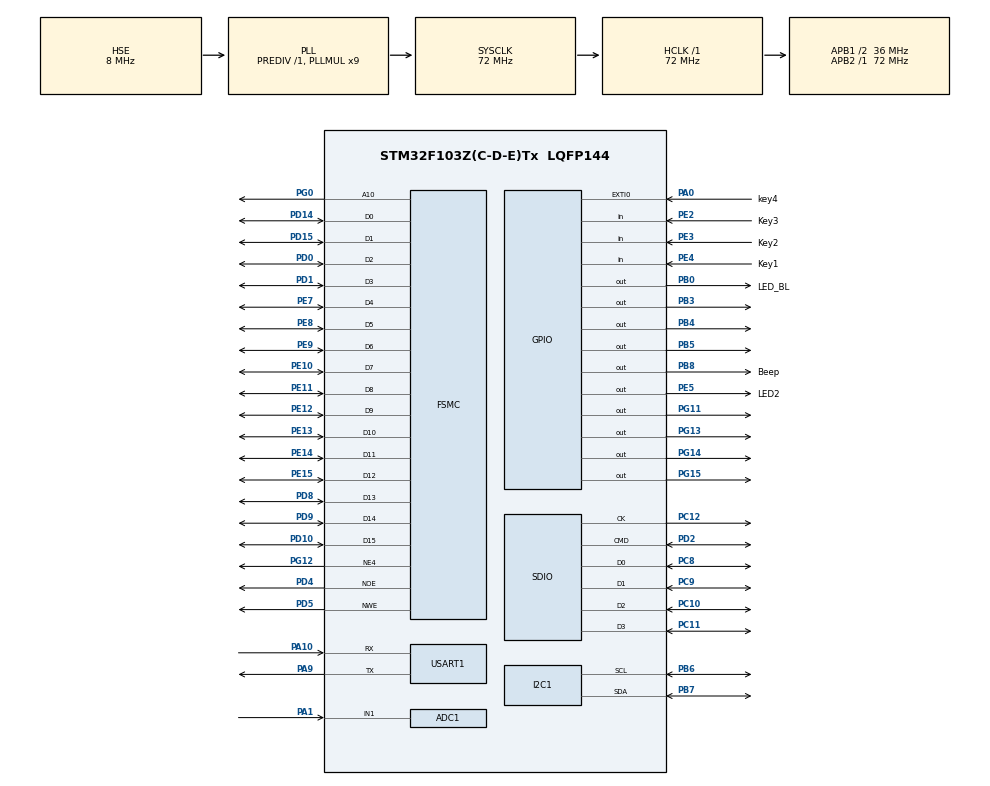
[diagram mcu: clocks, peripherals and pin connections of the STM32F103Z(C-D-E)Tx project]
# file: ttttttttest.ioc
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ADC1.Channel-0\#ChannelRegularConversion=ADC_CHANNEL_1
ADC1.ContinuousConvMode=DISABLE
ADC1.ExternalTrigConv=ADC_SOFTWARE_START
ADC1.NbrOfConversionFlag=1
ADC1.Rank-0\#ChannelRegularConversion=1
ADC1.SamplingTime-0\#ChannelRegularConversion=ADC_SAMPLETIME_1CYCLE_5
ADC1.master=1
FATFS._CODE_PAGE=936
FATFS._USE_LFN=3
Mcu.Family=STM32F1
Mcu.Name=STM32F103Z(C-D-E)Tx
Mcu.Package=LQFP144
NVIC.EXTI0_IRQn=true\:1\:0\:true\:false\:true\:true\:true
NVIC.PriorityGroup=NVIC_PRIORITYGROUP_4
NVIC.RTC_Alarm_IRQn=true\:0\:0\:false\:false\:true\:true\:true
NVIC.SDIO_IRQn=true\:0\:0\:true\:false\:true\:true\:true
NVIC.TIM3_IRQn=true\:1\:0\:true\:false\:true\:true\:true
NVIC.TIM4_IRQn=true\:2\:0\:true\:false\:true\:true\:true
NVIC.USART1_IRQn=true\:1\:0\:true\:false\:true\:true\:true
OSC_IN.Mode=HSE-External-Oscillator
OSC_IN.Signal=RCC_OSC_IN
OSC_OUT.Mode=HSE-External-Oscillator
OSC_OUT.Signal=RCC_OSC_OUT
PA0-WKUP.GPIO_Label=key4
PA0-WKUP.GPIO_PuPd=GPIO_PULLDOWN
PA0-WKUP.Signal=GPXTI0
PA1.Signal=ADCx_IN1
PA10.Mode=Asynchronous
PA10.Signal=USART1_RX
PA13.Mode=Serial_Wire
PA13.Signal=SYS_JTMS-SWDIO
PA14.Mode=Serial_Wire
PA14.Signal=SYS_JTCK-SWCLK
PA9.Mode=Asynchronous
PA9.Signal=USART1_TX
PB0.GPIO_Label=LED_BL
PB0.GPIO_PuPd=GPIO_PULLUP
PB0.GPIO_Speed=GPIO_SPEED_FREQ_HIGH
PB0.Signal=GPIO_Output
PB3.Signal=GPIO_Output
PB4.Signal=GPIO_Output
PB5.Signal=GPIO_Output
PB6.Mode=I2C
PB6.Signal=I2C1_SCL
PB7.Mode=I2C
PB7.Signal=I2C1_SDA
PB8.GPIO_Label=Beep
PB8.GPIO_ModeDefaultOutputPP=GPIO_MODE_OUTPUT_PP
PB8.Signal=GPIO_Output
PC10.Mode=SD_4_bits_Wide_bus
PC10.Signal=SDIO_D2
PC11.Mode=SD_4_bits_Wide_bus
PC11.Signal=SDIO_D3
PC12.Mode=SD_4_bits_Wide_bus
PC12.Signal=SDIO_CK
PC14-OSC32_IN.Mode=LSE-External-Oscillator
PC14-OSC32_IN.Signal=RCC_OSC32_IN
PC15-OSC32_OUT.Mode=LSE-External-Oscillator
PC15-OSC32_OUT.Signal=RCC_OSC32_OUT
PC8.Mode=SD_4_bits_Wide_bus
PC8.Signal=SDIO_D0
PC9.Mode=SD_4_bits_Wide_bus
PC9.Signal=SDIO_D1
PD0.Signal=FSMC_D2_DA2
PD1.Signal=FSMC_D3_DA3
PD10.Signal=FSMC_D15_DA15
PD14.Signal=FSMC_D0_DA0
PD15.Signal=FSMC_D1_DA1
PD2.Mode=SD_4_bits_Wide_bus
PD2.Signal=SDIO_CMD
PD4.Signal=FSMC_NOE
PD5.Signal=FSMC_NWE
PD8.Signal=FSMC_D13_DA13
PD9.Signal=FSMC_D14_DA14
PE10.Signal=FSMC_D7_DA7
PE11.Signal=FSMC_D8_DA8
PE12.Signal=FSMC_D9_DA9
PE13.Signal=FSMC_D10_DA10
PE14.Signal=FSMC_D11_DA11
PE15.Signal=FSMC_D12_DA12
PE2.GPIO_Label=Key3
PE2.GPIO_PuPd=GPIO_PULLUP
PE2.Signal=GPIO_Input
PE3.GPIO_Label=Key2
PE3.GPIO_PuPd=GPIO_PULLUP
PE3.Signal=GPIO_Input
PE4.GPIO_Label=Key1
PE4.GPIO_PuPd=GPIO_PULLUP
PE4.Signal=GPIO_Input
PE5.GPIO_Label=LED2
PE5.GPIO_ModeDefaultOutputPP=GPIO_MODE_OUTPUT_PP
PE5.GPIO_PuPd=GPIO_NOPULL
PE5.GPIO_Speed=GPIO_SPEED_FREQ_LOW
PE5.PinState=GPIO_PIN_RESET
PE5.Signal=GPIO_Output
PE7.Signal=FSMC_D4_DA4
PE8.Signal=FSMC_D5_DA5
PE9.Signal=FSMC_D6_DA6
PG0.Signal=FSMC_A10
PG11.GPIO_PuPd=GPIO_PULLUP
PG11.GPIO_Speed=GPIO_SPEED_FREQ_HIGH
PG11.Signal=GPIO_Output
PG12.Mode=NorPsramChipSelect4_1
PG12.Signal=FSMC_NE4
PG13.Signal=GPIO_Output
PG14.Signal=GPIO_Output
PG15.Signal=GPIO_Output
ProjectManager.HeapSize=0x1000
ProjectManager.StackSize=0x400
ProjectManager.TargetToolchain=MDK-ARM V5.27
RCC.ADCPresc=RCC_ADCPCLK2_DIV6
RCC.AHBFreq_Value=72000000
RCC.APB1CLKDivider=RCC_HCLK_DIV2
RCC.APB1Freq_Value=36000000
RCC.APB1TimFreq_Value=72000000
RCC.APB2Freq_Value=72000000
RCC.APB2TimFreq_Value=72000000
RCC.HCLKFreq_Value=72000000
RCC.PLLMUL=RCC_PLL_MUL9
RCC.PLLSourceVirtual=RCC_PLLSOURCE_HSE
RCC.RTCClockSelection=RCC_RTCCLKSOURCE_LSE
RCC.SYSCLKFreq_VALUE=72000000
RCC.SYSCLKSource=RCC_SYSCLKSOURCE_PLLCLK
RCC.USBFreq_Value=72000000
RTC.Date=16
RTC.Format=RTC_FORMAT_BCD
RTC.Hours=12
RTC.Minutes=58
RTC.Month=RTC_MONTH_MAY
RTC.WeekDay=RTC_WEEKDAY_SUNDAY
RTC.Year=21
SDIO.ClockDiv=4
SDIO.HardwareFlowControl=SDIO_HARDWARE_FLOW_CONTROL_ENABLE
SH.ADCx_IN1.0=ADC1_IN1,IN1
SH.FSMC_A10.0=FSMC_A10,A10_1
SH.FSMC_D0_DA0.0=FSMC_D0,16b-d1
SH.FSMC_D10_DA10.0=FSMC_D10,16b-d1
SH.FSMC_D11_DA11.0=FSMC_D11,16b-d1
SH.FSMC_D12_DA12.0=FSMC_D12,16b-d1
SH.FSMC_D13_DA13.0=FSMC_D13,16b-d1
SH.FSMC_D14_DA14.0=FSMC_D14,16b-d1
SH.FSMC_D15_DA15.0=FSMC_D15,16b-d1
SH.FSMC_D1_DA1.0=FSMC_D1,16b-d1
SH.FSMC_D2_DA2.0=FSMC_D2,16b-d1
SH.FSMC_D3_DA3.0=FSMC_D3,16b-d1
SH.FSMC_D4_DA4.0=FSMC_D4,16b-d1
SH.FSMC_D5_DA5.0=FSMC_D5,16b-d1
SH.FSMC_D6_DA6.0=FSMC_D6,16b-d1
SH.FSMC_D7_DA7.0=FSMC_D7,16b-d1
SH.FSMC_D8_DA8.0=FSMC_D8,16b-d1
SH.FSMC_D9_DA9.0=FSMC_D9,16b-d1
SH.FSMC_NOE.0=FSMC_NOE,Lcd1
SH.FSMC_NWE.0=FSMC_NWE,Lcd1
TIM3.Period=30000
TIM3.Prescaler=7200-1
TIM4.Period=10000-1
TIM4.Prescaler=7200-1
TIM7.Period=65535
TIM7.Prescaler=72-1
USART1.VirtualMode=VM_ASYNC
VP_CRC_VS_CRC.Mode=CRC_Activate
VP_FATFS_VS_SDIO.Mode=SDIO
VP_RTC_No_RTC_Output.Mode=RTC_OUT_NO
VP_RTC_VS_RTC_Activate.Mode=RTC_Enabled
VP_RTC_VS_RTC_Calendar.Mode=RTC_Calendar
VP_TIM3_VS_ClockSourceINT.Mode=Internal
VP_TIM4_VS_ClockSourceINT.Mode=Internal
VP_TIM7_VS_ClockSourceINT.Mode=Enable_Timer
board=custom

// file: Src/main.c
/* USER CODE BEGIN Header */
/**
  ******************************************************************************
  * @file           : main.c
  * @brief          : Main program body
  ******************************************************************************
  * @attention
  *
  * <h2><center>&copy; Copyright (c) 2021 STMicroelectronics.
  * All rights reserved.</center></h2>
  *
  * This software component is licensed by ST under Ultimate Liberty license
  * SLA0044, the "License"; You may not use this file except in compliance with
  * the License. You may obtain a copy of the License at:
  *                             www.st.com/SLA0044
  *
  ******************************************************************************
  */
/* USER CODE END Header */

#include "main.h"
#include "adc.h"
#include "crc.h"
#include "fatfs.h"
#include "i2c.h"
#include "rtc.h"
#include "sdio.h"
#include "tim.h"
#include "usart.h"
#include "gpio.h"
#include "fsmc.h"
#include "iic.h"

/* USER CODE BEGIN Includes */
#include "lcd.h"
#include "key.h"
#include "dht11.h"
#include "stdio.h"
#include "rtc.h"
#include "BH1750.h"
#include "i2c.h"
#include "math.h"
/* USER CODE END Includes */

/* USER CODE BEGIN PTD */

  uint8_t s1 = 1;			//主页面功能号
  uint8_t s2 = 0;			//主次页面判断标志位
  uint8_t s3 = 1;		//次页面功能号
  uint8_t s4 = 1;
  uint8_t s5 = 0;
  uint8_t flag;
  uint8_t flag_storage = 0;
  uint8_t flag_tem = 1;
  uint8_t flag_hum = 2;
  uint8_t flag_con = 3;
  uint8_t flag_light = 4;
	uint16_t temperature;
	uint16_t humidity;
  uint16_t temp2;
  uint16_t AD_Value;
  uint32_t byteswritten;
  uint8_t lx_Integer;
  uint8_t lx_Decimal;
  uint8_t ppm_Integer;
  uint8_t ppm_Decimal;
  uint16_t flag_conup = 1000;
  uint8_t flag_conlow = 0;
  uint16_t flag_lightup = 5000;
  uint8_t flag_lightlow = 0;
  uint8_t flag_humup = 95;
  uint8_t flag_humlow = 5;

  float ppm;
  float lx;
  float test_tem;
  float flag_temup = 34.0;
  float flag_temlow = 10.0;
	float Vol_Value;

  char SensorBuff[100];
  char tem_show[50];
  char hum_show[50];
  char ppm_show[50];
  char lux_show[50];
  char date_show[50];
  char time_show[50];
  RTC_DateTypeDef GetDate;
  RTC_TimeTypeDef GetTime;
  RTC_AlarmTypeDef sAlarm;

  extern uint8_t r_s;
/* USER CODE END PTD */

void SystemClock_Config(void);
/* USER CODE BEGIN PFP */
void SD_Open(void);
void Function_Primary(void);
void Key_function(void);
void Date_Show(void);
void SD_Show(void);
void function(void);
void key_scan_up(void);
void key_scan_down(void);
void test(void);
void Real_Time_Storage(void);
void Threshold_setting(void);
void Threshold_Temperature(void);
void Threshold_Humidity(void);
void Device_init(void);
void Alarm_Display(void);
void Threshold_Concentration(void);
void Collection_Path(void);
void Set_Tem_Path(void);
void Set_Hum_Path(void);
void Set_Con_Path(void);
void Set_Light_Path(void);
void Collection_Path_Page(void);
void Threshold_Lgiht(void);
void CD4051(uint8_t n);
void Polling_CD4051(void);

/* USER CODE END PFP */

int main(void)
{

  /* MCU Configuration--------------------------------------------------------*/

  /* Reset of all peripherals, Initializes the Flash interface and the Systick. */
  HAL_Init();

  /* Configure the system clock */
  SystemClock_Config();

  /* Initialize all configured peripherals */
  MX_GPIO_Init();
  MX_SDIO_SD_Init();
  MX_USART1_UART_Init();
  MX_FATFS_Init();
  MX_CRC_Init();
  MX_FSMC_Init();
  MX_TIM3_Init();
  MX_TIM7_Init();
  MX_RTC_Init();
  MX_ADC1_Init();
  MX_I2C1_Init();
  MX_TIM4_Init();
  /* USER CODE BEGIN 2 */
  LCD_Init();
  HAL_GPIO_WritePin(GPIOB,GPIO_PIN_3,0);//inh

  HAL_GPIO_WritePin(GPIOB,GPIO_PIN_5,0);
  HAL_TIM_Base_Start_IT(&htim3);
  HAL_TIM_Base_Start_IT(&htim4);
  rtc_init_user();
  IIC_Init();
  SD_Open();
  DHT11_Read_Data(&temperature,&humidity);
  // CD4051(0);
  // HAL_ADC_Start_DMA(&hadc1, Ad_temp, 100);
  /* USER CODE END 2 */

  /* Infinite loop */
  while (1)
  {
    // Polling_CD4051();
    Device_init();
    function();
    key_scan_down();
    key_scan_up();
    test();
    printf("%d",flag);
    printf("Temperature = %d.%d degree\r\n",temperature>>8,temperature&0xff);

  }
}

void SystemClock_Config(void)
{
  RCC_OscInitTypeDef RCC_OscInitStruct = {0};
  RCC_ClkInitTypeDef RCC_ClkInitStruct = {0};
  RCC_PeriphCLKInitTypeDef PeriphClkInit = {0};

  /** Initializes the CPU, AHB and APB busses clocks
  */
  RCC_OscInitStruct.OscillatorType = RCC_OSCILLATORTYPE_HSE|RCC_OSCILLATORTYPE_LSE;
  RCC_OscInitStruct.HSEState = RCC_HSE_ON;
  RCC_OscInitStruct.HSEPredivValue = RCC_HSE_PREDIV_DIV1;
  RCC_OscInitStruct.LSEState = RCC_LSE_ON;
  RCC_OscInitStruct.HSIState = RCC_HSI_ON;
  RCC_OscInitStruct.PLL.PLLState = RCC_PLL_ON;
  RCC_OscInitStruct.PLL.PLLSource = RCC_PLLSOURCE_HSE;
  RCC_OscInitStruct.PLL.PLLMUL = RCC_PLL_MUL9;
  if (HAL_RCC_OscConfig(&RCC_OscInitStruct) != HAL_OK)
  {
    Error_Handler();
  }
  /** Initializes the CPU, AHB and APB busses clocks
  */
  RCC_ClkInitStruct.ClockType = RCC_CLOCKTYPE_HCLK|RCC_CLOCKTYPE_SYSCLK
                              |RCC_CLOCKTYPE_PCLK1|RCC_CLOCKTYPE_PCLK2;
  RCC_ClkInitStruct.SYSCLKSource = RCC_SYSCLKSOURCE_PLLCLK;
  RCC_ClkInitStruct.AHBCLKDivider = RCC_SYSCLK_DIV1;
  RCC_ClkInitStruct.APB1CLKDivider = RCC_HCLK_DIV2;
  RCC_ClkInitStruct.APB2CLKDivider = RCC_HCLK_DIV1;

  if (HAL_RCC_ClockConfig(&RCC_ClkInitStruct, FLASH_LATENCY_2) != HAL_OK)
  {
    Error_Handler();
  }
  PeriphClkInit.PeriphClockSelection = RCC_PERIPHCLK_RTC|RCC_PERIPHCLK_ADC;
  PeriphClkInit.RTCClockSelection = RCC_RTCCLKSOURCE_LSE;
  PeriphClkInit.AdcClockSelection = RCC_ADCPCLK2_DIV6;
  if (HAL_RCCEx_PeriphCLKConfig(&PeriphClkInit) != HAL_OK)
  {
    Error_Handler();
  }
}

/* USER CODE BEGIN 4 */

void HAL_GPIO_EXTI_Callback(uint16_t GPIO_Pin)
{

}

void HAL_TIM_PeriodElapsedCallback(TIM_HandleTypeDef *htim)
{
  if(htim == &htim3)
  {
    RTC_Get();
       /* 打开文件 */
    f_open(&SDFile,"0:/Date.CSV",FA_OPEN_EXISTING | FA_WRITE);

    /* 查找文件的结尾 */
    f_lseek(&SDFile,f_size(&SDFile));
    /* 写入数据 */
    sprintf(SensorBuff, "%d.%d,%d.%d,%d.%d,%d.%d,%02d/%02d/%02d,%02d:%02d:%02d\r\n",temperature>>8,temperature&0xff,
    humidity>>8,humidity&0xff,ppm_Integer,ppm_Decimal,lx_Integer,lx_Decimal,calendar.w_year, calendar.w_month, calendar.w_date,calendar.hour,
    calendar.min, calendar.sec);
    f_write(&SDFile,SensorBuff,strlen(SensorBuff),&byteswritten);
    printf("\r\nsuccess\r\n");

    /* 关闭文件 */
    f_close(&SDFile);
  }

  if(htim == &htim4)
  {

    RTC_Get();
    flag = DHT11_Read_Data(&temperature,&humidity);

  }
}

//监控数据
void Date_Show(void)
{
  sprintf((char*)tem_show,"Temperature = %d.%d degree",temperature>>8,temperature&0xff);
  sprintf((char*)hum_show,"Humidity = %d.%d%%",humidity>>8,humidity&0xff);
  sprintf((char*)ppm_show,"Concentration = %d.%d ppm",ppm_Integer,ppm_Decimal);
  sprintf((char*)lux_show,"Light intensity = %d.%d lx",lx_Integer,lx_Decimal);
  POINT_COLOR = BLUE;
  LCD_ShowString(50,20,240,200,16,"Monitoring Data");
  POINT_COLOR = BLACK;
  LCD_ShowString(10,60,240,200,16,tem_show);
  LCD_ShowString(10,100,240,200,16,hum_show);
  LCD_ShowString(10,140,240,200,16,ppm_show);
  LCD_ShowString(10,180,240,200,16,lux_show);
}

//显示SD卡信息函数
void SD_Show(void){
  POINT_COLOR = BLUE;
  LCD_ShowString(50,20,200,240,16,"Detection device");
  POINT_COLOR = BLACK;
  LCD_ShowString(10,60,200,240,16,"Temperature equipment");
  LCD_ShowString(10,100,200,240,16,"Humidity equipment");
  LCD_ShowString(10,140,200,240,16,"Concentration equipment");
  LCD_ShowString(10,180,200,240,16,"Lighting equipment");

  HAL_SD_CardCIDTypeDef SDCard_CID;
  HAL_SD_CardInfoTypeDef SDCard_INFO;
  uint64_t CardCap;			//SD卡容量

  // LCD_DrawRectangle(25,25,215,135);
  // POINT_COLOR=RED;
  // LCD_ShowString(30,30,200,16,16,(uint8_t *)"ManufacturerID:%d\r\n",SDCard_CID.ManufacturerID);
  // LCD_ShowString(30,50,200,16,16,(uint8_t *)"Card RCA:%d\r\n",SDCard_INFO.RelCardAdd);
  // LCD_ShowString(30,70,200,16,16,(uint8_t *)"LogBlockNbr:%d\r\n",SDCard_INFO.LogBlockNbr);
  // LCD_ShowString(30,90,200,16,16, (uint8_t *)"LogBlockSize:%d\r\n",SDCard_INFO.LogBlockSize);

  LCD_ShowString(30,230,200,16,16,(uint8_t *)"SD Card Information");
  LCD_ShowString(30,250,80,16,16,(uint8_t *)"Card Type:     ");
  LCD_ShowString(30,270,80,16,16,(uint8_t *)"Card Capa:");

  HAL_SD_GetCardCID(&hsd,&SDCard_CID);	//获取CID
  HAL_SD_GetCardInfo(&hsd,&SDCard_INFO);//获取SD卡信息
  switch(SDCard_INFO.CardType)		//SD卡类型
  {
    case CARD_SDSC:
      if(SDCard_INFO.CardVersion == CARD_V1_X){
        LCD_ShowString(120,250,50,16,16,(uint8_t *)"SDSC V1");
        // printf("Card Type: SDSC V1\r\n");
      }
      else if(SDCard_INFO.CardVersion == CARD_V2_X){
        LCD_ShowString(120,250,50,16,16,(uint8_t *)"SDSC V2");
        // printf("Card Type: SDSC V2\r\n");
      }
      break;
    case CARD_SDHC_SDXC:
      LCD_ShowString(120,250,50,16,16,(uint8_t *)"SDHC");
      // printf("Card Type: SDHC\r\n");
      break;
  }

  CardCap = (uint64_t)(SDCard_INFO.LogBlockNbr)*(uint64_t)(SDCard_INFO.LogBlockSize)/1024/1024;	//计算SD卡容量
  // printf("Card ManufacturerID:%d\r\n",SDCard_CID.ManufacturerID);//制造商ID
  // printf("Card RCA:%d\r\n",SDCard_INFO.RelCardAdd);	//卡相对地址
  // printf("LogBlockNbr:%d\r\n",SDCard_INFO.LogBlockNbr);	//逻辑块数量
  // printf("LogBlockSize:%d\r\n",SDCard_INFO.LogBlockSize);//逻辑块大小
  // printf("Card Capacity:%d MB\r\n",(uint32_t)CardCap);	//显示容量
  // printf("Card BlockSize:%d\r\n",SDCard_INFO.BlockSize);//块大小
  LCD_ShowNum(120,270,(uint32_t)CardCap,5,16);
  LCD_ShowString(160,270,50,16,16,(uint8_t *)"MB");
  if(flag == 0)
  {
    LCD_Fill(200,60,220,80,GREEN);
    LCD_Fill(200,100,220,120,GREEN);
  }else{
    LCD_Fill(200,60,220,80,RED);
    LCD_Fill(200,100,220,120,RED);
  }

  if((AD_Value > 3000)&(AD_Value < 3400))
  {
    LCD_Fill(200,140,220,160,RED);
  }else{
    LCD_Fill(200,140,220,160,GREEN);
  }

  if(r_s == 0)
  {
    LCD_Fill(200,180,220,200,GREEN);
  }else{
    LCD_Fill(200,180,220,200,RED);
  }
  // HAL_Delay(2000);
}

//开启SD卡
void SD_Open(void)
{
  /*注册一个工作区域*/
    f_mount(&SDFatFS,SDPath,1);

    /* 打开创建一个新文件 */
    f_open(&SDFile,(const char*)"0:/Date.CSV",FA_CREATE_NEW | FA_WRITE);

    /* 写入标题数据 */
    sprintf(SensorBuff, "Temperature,Humidity,ppm,Light,Date,Time\r\n");
    f_write(&SDFile,SensorBuff,strlen(SensorBuff),&byteswritten);
    printf("\r\n!!!\r\n");

    /* 关闭文件 */
    f_close(&SDFile);
}

//主页面
void Function_Primary(void)
{
  RTC_Get();
  sprintf((char*)date_show,"%02d/%02d/%02d",calendar.w_year, calendar.w_month, calendar.w_date);
  sprintf((char*)time_show,"%02d:%02d:%02d",calendar.hour, calendar.min, calendar.sec);
  POINT_COLOR = BLUE;
  LCD_ShowString(25,10,240,200,16,"Data Collection Systems");
  POINT_COLOR = BLACK;
  LCD_ShowString(20,50,240,200,16,"Real-time Monitoring");
  LCD_ShowString(20,90,240,200,16,"Device inspection");
  LCD_ShowString(20,130,240,200,16,"Real-time storage");
  LCD_ShowString(20,170,240,200,16,"Threshold setting");
  LCD_ShowString(70,220,240,200,16,date_show);
  LCD_ShowString(70,240,240,200,16,time_show);
  switch (s1)
      {
        case 1:
          LCD_Fill(0,0,18,200,WHITE);
          Draw_Circle(5,60,5);

         break;

        case 2:
          LCD_Fill(0,0,18,200,WHITE);
          Draw_Circle(5,100,5);
         break;

        case 3:
          LCD_Fill(0,0,18,200,WHITE);
          Draw_Circle(5,140,5);
          break;

        case 4:
          LCD_Fill(0,0,18,200,WHITE);
          Draw_Circle(5,180,5);
          break;

        default:
         break;
      }

}

//确定键与返回键
void function(void)
{
	if(HAL_GPIO_ReadPin(Key3_GPIO_Port,Key3_Pin)==0)    //确定键
	{
		HAL_Delay(50);
	  if(HAL_GPIO_ReadPin(Key3_GPIO_Port,Key3_Pin) == 0)
		{
      if(s2 == 13)   //光照路径选择
      {
        switch (s4)
        {
        case 1:
          flag_light = 1;
          if(flag_light == flag_tem)
            flag_tem = 0;
          else if(flag_light == flag_hum)
            flag_hum = 0;
          else if(flag_light == flag_con)
            flag_con = 0;
          break;

        case 2:
          flag_light = 2;
          if(flag_light == flag_tem)
            flag_tem = 0;
          else if(flag_light == flag_hum)
            flag_hum = 0;
          else if(flag_light == flag_con)
            flag_con = 0;
          break;

        case 3:
          flag_light = 3;
          if(flag_light == flag_tem)
            flag_tem = 0;
          else if(flag_light == flag_hum)
            flag_hum = 0;
          else if(flag_light == flag_con)
            flag_con = 0;
          break;

        case 4:
          flag_light = 4;
          if(flag_light == flag_tem)
            flag_tem = 0;
          else if(flag_light == flag_hum)
            flag_hum = 0;
          else if(flag_light == flag_con)
            flag_con = 0;
          break;

        default:
          break;
        }
      }

      if(s2 == 12)   //浓度路径选择
      {
        switch (s4)
        {
        case 1:
          flag_con = 1;
          if(flag_con == flag_tem)
            flag_tem = 0;
          else if(flag_con == flag_hum)
            flag_hum = 0;
          else if(flag_con == flag_light)
            flag_light = 0;
          break;

        case 2:
          flag_con = 2;
          if(flag_con == flag_tem)
            flag_tem = 0;
          else if(flag_con == flag_hum)
            flag_hum = 0;
          else if(flag_con == flag_light)
            flag_light = 0;
          break;

        case 3:
          flag_con = 3;
          if(flag_con == flag_tem)
            flag_tem = 0;
          else if(flag_con == flag_hum)
            flag_hum = 0;
          else if(flag_con == flag_light)
            flag_light = 0;
          break;

        case 4:
          flag_con = 4;
          if(flag_con == flag_tem)
            flag_tem = 0;
          else if(flag_con == flag_hum)
            flag_hum = 0;
          else if(flag_con == flag_light)
            flag_light = 0;
          break;

        default:
          break;
        }
      }

      if(s2 == 11)   //湿度路径选择
      {
        switch (s4)
        {
        case 1:
          flag_hum = 1;
          if(flag_hum == flag_tem)
            flag_tem = 0;
          else if(flag_hum == flag_con)
            flag_con = 0;
          else if(flag_hum == flag_light)
            flag_light = 0;
          break;

        case 2:
          flag_hum = 2;
          if(flag_hum == flag_tem)
            flag_tem = 0;
          else if(flag_hum == flag_con)
            flag_con = 0;
          else if(flag_hum == flag_light)
            flag_light = 0;
          break;

        case 3:
          flag_hum = 3;
          if(flag_hum == flag_tem)
            flag_tem = 0;
          else if(flag_hum == flag_con)
            flag_con = 0;
          else if(flag_hum == flag_light)
            flag_light = 0;
          break;

        case 4:
          flag_hum = 4;
          if(flag_hum == flag_tem)
            flag_tem = 0;
          else if(flag_hum == flag_con)
            flag_con = 0;
          else if(flag_hum == flag_light)
            flag_light = 0;
          break;

        default:
          break;
        }
      }

      if(s2 == 10)   //温度路径选择
      {
        switch (s4)
        {
        case 1:
          flag_tem = 1;
          if(flag_tem == flag_hum)
            flag_hum = 0;
          else if(flag_tem == flag_con)
            flag_con = 0;
          else if(flag_tem == flag_light)
            flag_light = 0;
          break;

        case 2:
          flag_tem = 2;
          if(flag_tem == flag_hum)
            flag_hum = 0;
          else if(flag_tem == flag_con)
            flag_con = 0;
          else if(flag_tem == flag_light)
            flag_light = 0;
          break;

        case 3:
          flag_tem = 3;
          if(flag_tem == flag_hum)
            flag_hum = 0;
          else if(flag_tem == flag_con)
            flag_con = 0;
          else if(flag_tem == flag_light)
            flag_light = 0;
          break;

        case 4:
          flag_tem = 4;
          if(flag_tem == flag_hum)
            flag_hum = 0;
          else if(flag_tem == flag_con)
            flag_con = 0;
          else if(flag_tem == flag_light)
            flag_light = 0;
          break;

        default:
          break;
        }
      }

      if(s2 == 9)   //路径设置
      {
        switch (s4)
        {
        case 1:
          LCD_Clear(WHITE);
          s2 = 10;
          s4 = 1;
          break;

        case 2:
          LCD_Clear(WHITE);
          s2 = 11;
          s4 = 1;
          break;

        case 3:
          LCD_Clear(WHITE);
          s2 = 12;
          s4 = 1;
          break;

        case 4:
          LCD_Clear(WHITE);
          s2 = 13;
          s4 = 1;
          break;

        default:
          break;
        }
      }

      if(s2 == 7)   //浓度阈值设置
      {
        switch(s4)
        {
          case 1:
            flag_conup += 5;
            break;
          case 2:
            flag_conup -= 5;
            break;

          case 3:
            flag_conlow += 5;
            break;

          case 4:
            flag_conlow -= 5;
            if(flag_conlow < 0)
            flag_conlow = 0;
            break;

            default:
								break;
        }
      }

      if(s2 == 5)   //温度阈值设置
      {
        switch(s4)
        {
          case 1:
            flag_temup += 0.1;
            break;
          case 2:
            flag_temup -= 0.1;
            break;

          case 3:
            flag_temlow += 0.1;
            break;

          case 4:
            flag_temlow -= 0.1;
            if(flag_temlow < 0)
            flag_temlow = 0;
            break;

            default:
								break;
        }
      }

      if(s2 == 6)   //湿度阈值设置
      {
        switch(s4)
        {
          case 1:
            flag_humup += 5;
            break;
            if(flag_temlow > 100)
            flag_temlow = 100;
          case 2:
            flag_humup -= 5;
            break;

          case 3:
            flag_humlow += 5;
            break;

          case 4:
            flag_humlow -= 5;
            if(flag_temlow < 0)
            flag_temlow = 0;
            break;

            default:
								break;
        }
      }

      if(s2 == 4)   //阈值设置选择
      {
        switch(s4)
        {
          case 1:
            LCD_Clear(WHITE);
            s2 = 5;
            s4 = 1;
            // Threshold_Temperature();
            break;

          case 2:
            LCD_Clear(WHITE);
            s2 = 6;
            s4 = 1;
            // Threshold_Humidity();
            break;

          case 3:
            LCD_Clear(WHITE);
            s2 = 7;
            s4 = 1;
            // Threshold_Humidity();
            break;

          case 4:
            LCD_Clear(WHITE);
            s2 = 14;
            s4 = 1;
            break;

          default:
								break;
        }
      }

      if(s2 == 3)   //SD装配卸载功能选择
      {
        switch (s3)
        {
          case 1:
            flag_storage = 0;
          break;

          case 2:
            flag_storage = 1;
            break;

          case 3:
            LCD_Clear(WHITE);
            s2 = 9;
            s4 = 1;
          default:
            break;
        }
      }

			if(s2 == 0)		//主界面功能选择
			{
				switch(s1)
					{
						case 1: LCD_Clear(WHITE);
								    s2 = 1;
                    // Date_Show();
								    break;
						case 2: LCD_Clear(WHITE);
							    	s2 = 2;
                    flag = 0;
                    // SD_Show();
								    break;
						case 3: LCD_Clear(WHITE);
                    s3 = 1;
								    s2 = 3;
                    // Real_Time_Storage();
                    break;
            case 4: LCD_Clear(WHITE);
                    s2 = 4;
                    // Threshold_setting();
								    break;

						default:
								break;
					}
      }
    }
  }

  if(HAL_GPIO_ReadPin(key4_GPIO_Port,key4_Pin)==1)    //返回键
	{
		HAL_Delay(50);
		if(HAL_GPIO_ReadPin(key4_GPIO_Port,key4_Pin) == 1)
		{
      switch(s2)
      {
        case 1:
          LCD_Clear(WHITE);
          s2 = 0;
          // Function_Primary();
          break;
        case 2:
          LCD_Clear(WHITE);
          s2 = 0;
          // Function_Primary();
          break;
        case 3:
          LCD_Clear(WHITE);
          s2 = 0;
          // Function_Primary();
          break;
        case 4:
          LCD_Clear(WHITE);
          s2 = 0;
          // Function_Primary();
          break;
        case 5:
          LCD_Clear(WHITE);
          s2 = 4;
          s4 = 1;
          // Threshold_setting();
          break;
        case 6:
          LCD_Clear(WHITE);
          s2 = 4;
          s4 = 1;
          // Threshold_setting();
          break;
        case 7:
          LCD_Clear(WHITE);
          s2 = 4;
          s4 = 1;
          // Threshold_setting();
          break;

        case 9:
          LCD_Clear(WHITE);
          s2 = 3;
          s4 = 1;
          break;

        case 10:
          LCD_Clear(WHITE);
          s2 = 9;
          s4 = 1;
          break;

        case 11:
          LCD_Clear(WHITE);
          s2 = 9;
          s4 = 1;
          break;

        case 12:
          LCD_Clear(WHITE);
          s2 = 9;
          s4 = 1;
          break;

        case 13:
          LCD_Clear(WHITE);
          s2 = 9;
          s4 = 1;
          break;

        case 14:
          LCD_Clear(WHITE);
          s2 = 4;
          s4 = 1;
          break;

          default:
            break;
      }

    }
  }
}

//功能切换上建
void key_scan_up(void)
{
	if(HAL_GPIO_ReadPin(Key2_GPIO_Port,Key2_Pin) == 0)
	{
		switch(s2)		//判断是主界面中哪个功能的次界面
		{
			case 0:
			HAL_Delay(50);
			if(HAL_GPIO_ReadPin(Key2_GPIO_Port,Key2_Pin) == 0)
			{

				s1+=1;
			}
			if(s1 > 4)
				s1 = 1;
			else
				s1 = s1;
      // Function_Primary();
			break;

			case 3:
			HAL_Delay(50);
			if(HAL_GPIO_ReadPin(Key2_GPIO_Port,Key2_Pin) == 0)
			{

				s3+=1;
			}
			if(s3 > 3)
				s3 = 1;
			else
				s3 = s3;
      // Real_Time_Storage();

			break;

      case 4:
        HAL_Delay(50);
			  if(HAL_GPIO_ReadPin(Key2_GPIO_Port,Key2_Pin) == 0)
		  	{
				  s4 += 1;
			  }
			  if(s4 > 4)
				  s4 = 1;
			  else
				  s4 = s4;
        // Threshold_setting();
		  	break;

      case 5:
			HAL_Delay(50);
			if(HAL_GPIO_ReadPin(Key2_GPIO_Port,Key2_Pin) == 0)
			{
				s4 += 1;
			}
			if(s4 > 4)
				s4 = 1;
			else
				s4 = s4;
      // Threshold_Temperature();
			break;

      case 6:
			HAL_Delay(50);
			if(HAL_GPIO_ReadPin(Key2_GPIO_Port,Key2_Pin) == 0)
			{
				s4 += 1;
			}
			if(s4 > 4)
				s4 = 1;
			else
				s4 = s4;
			break;

      case 9:
			HAL_Delay(50);
			if(HAL_GPIO_ReadPin(Key2_GPIO_Port,Key2_Pin) == 0)
			{
				s4 += 1;
			}
			if(s4 > 4)
				s4 = 1;
			else
				s4 = s4;
			break;

      case 10:
			HAL_Delay(50);
			if(HAL_GPIO_ReadPin(Key2_GPIO_Port,Key2_Pin) == 0)
			{
				s4 += 1;
			}
			if(s4 > 4)
				s4 = 1;
			else
				s4 = s4;
			break;

      case 11:
			HAL_Delay(50);
			if(HAL_GPIO_ReadPin(Key2_GPIO_Port,Key2_Pin) == 0)
			{
				s4 += 1;
			}
			if(s4 > 4)
				s4 = 1;
			else
				s4 = s4;
			break;

      case 12:
			HAL_Delay(50);
			if(HAL_GPIO_ReadPin(Key2_GPIO_Port,Key2_Pin) == 0)
			{
				s4 += 1;
			}
			if(s4 > 4)
				s4 = 1;
			else
				s4 = s4;
			break;

      case 13:
			HAL_Delay(50);
			if(HAL_GPIO_ReadPin(Key2_GPIO_Port,Key2_Pin) == 0)
			{
				s4 += 1;
			}
			if(s4 > 4)
				s4 = 1;
			else
				s4 = s4;
			break;

		default:
		break;
			}
	}
}

//功能切换下键
void key_scan_down(void)
{
	if(HAL_GPIO_ReadPin(Key1_GPIO_Port,Key1_Pin) == 0)
	{
		switch(s2)		//判断是主界面中哪个功能的次界面
		{
			case 0:
			HAL_Delay(50);
			if(HAL_GPIO_ReadPin(Key1_GPIO_Port,Key1_Pin) == 0)
			{

				s1 -= 1;
			}
			if(s1 < 1)
				s1 = 4;
			else
				s1 = s1;
      // Function_Primary();
			break;

			case 3:
			HAL_Delay(50);
			if(HAL_GPIO_ReadPin(Key1_GPIO_Port,Key1_Pin) == 0)
			{

				s3 -= 1;
			}
			if(s3 < 1)
				s3 = 3;
			else
				s3 = s3;
      // Real_Time_Storage();
			break;

      case 4:
        HAL_Delay(50);
			  if(HAL_GPIO_ReadPin(Key1_GPIO_Port,Key1_Pin) == 0)
		  	{
				  s4 -= 1;
			  }
			  if(s4 < 1)
				  s4 = 4;
			  else
				  s4 = s4;
        // Threshold_setting();
		  	break;

      case 5:
		  	HAL_Delay(50);
		  	if(HAL_GPIO_ReadPin(Key1_GPIO_Port,Key1_Pin) == 0)
			  {
			  	s4 -= 1;
		    }
			  if(s4 < 1)
			  	s4 = 4;
		  	else
			  	s4 = s4;
        // Threshold_Temperature();
		  	break;

        case 6:
		  	HAL_Delay(50);
		  	if(HAL_GPIO_ReadPin(Key1_GPIO_Port,Key1_Pin) == 0)
			  {
			  	s4 -= 1;
		    }
			  if(s4 < 1)
			  	s4 = 4;
		  	else
			  	s4 = s4;
		  	break;

        case 9:
		  	HAL_Delay(50);
		  	if(HAL_GPIO_ReadPin(Key1_GPIO_Port,Key1_Pin) == 0)
			  {
			  	s4 -= 1;
		    }
			  if(s4 < 1)
			  	s4 = 4;
		  	else
			  	s4 = s4;
		  	break;

        case 10:
		  	HAL_Delay(50);
		  	if(HAL_GPIO_ReadPin(Key1_GPIO_Port,Key1_Pin) == 0)
			  {
			  	s4 -= 1;
		    }
			  if(s4 < 1)
			  	s4 = 4;
		  	else
			  	s4 = s4;
		  	break;

        case 11:
		  	HAL_Delay(50);
		  	if(HAL_GPIO_ReadPin(Key1_GPIO_Port,Key1_Pin) == 0)
			  {
			  	s4 -= 1;
		    }
			  if(s4 < 1)
			  	s4 = 4;
		  	else
			  	s4 = s4;
		  	break;

        case 12:
		  	HAL_Delay(50);
		  	if(HAL_GPIO_ReadPin(Key1_GPIO_Port,Key1_Pin) == 0)
			  {
			  	s4 -= 1;
		    }
			  if(s4 < 1)
			  	s4 = 4;
		  	else
			  	s4 = s4;
		  	break;

        case 13:
		  	HAL_Delay(50);
		  	if(HAL_GPIO_ReadPin(Key1_GPIO_Port,Key1_Pin) == 0)
			  {
			  	s4 -= 1;
		    }
			  if(s4 < 1)
			  	s4 = 4;
		  	else
			  	s4 = s4;
		  	break;

		default:
		break;
			}
	}
}

//标志位判断
void test(void)
{
  switch (s2)
  {
  case 0:
    Function_Primary();
    break;

  case 1:
    Date_Show();
    break;

  case 2:
    SD_Show();
    break;

  case 3:
    Real_Time_Storage();
    break;

  case 4:
    Threshold_setting();
    break;

  case 5:
    Threshold_Temperature();
    break;

  case 6:
    Threshold_Humidity();
    break;

  case 7:
    Threshold_Concentration();
    break;

  case 8:
    Alarm_Display();
    break;

  case 9:
    Collection_Path_Page();
    break;

  case 10:
    Set_Tem_Path();
    break;

  case 11:
    Set_Hum_Path();
    break;

  case 12:
    Set_Con_Path();
    break;

  case 13:
    Set_Light_Path();
    break;

  case 14:
    Threshold_Lgiht();
    break;

  default:
    break;
  }

  test_tem = temperature&0xff;
  if((((temperature>>8)+test_tem*0.1) > flag_temup)|(((temperature>>8)+test_tem*0.1) < flag_temlow))
  {
    s2 = 8;
    s5 = 1;
  }

  if(((int)(humidity>>8) > flag_humup)|((int)(humidity>>8) < flag_humlow))
  {
    s2 = 8;
    s5 = 2;
  }

  if((ppm_Integer > flag_conup)|(ppm_Integer < flag_conlow))
  {
    s2 = 8;
    s5 = 3;
  }

    if((lx_Integer > flag_lightup)|(lx_Integer < flag_lightlow))
  {
    s2 = 8;
    s5 = 4;
  }

  if(s2 != 2)
  Polling_CD4051();
  else
  CD4051(0);
}

//实时存储
void Real_Time_Storage(void){
  POINT_COLOR = BLUE;
  LCD_ShowString(50,20,240,200,16,"Collection Point");
  POINT_COLOR = BLACK;
  LCD_ShowString(20,60,240,200,16,"Turn on storage");
  LCD_ShowString(20,100,240,200,16,"Turn off storage");
  LCD_ShowString(20,140,240,200,16,"Set collection path");

  switch (s3)
      {
        case 1:
          LCD_Fill(0,0,18,200,WHITE);
          Draw_Circle(5,70,5);
         break;

        case 2:
          LCD_Fill(0,0,18,200,WHITE);
          Draw_Circle(5,110,5);
         break;

        case 3:
          LCD_Fill(0,0,18,200,WHITE);
          Draw_Circle(5,150,5);
         break;

        default:
         break;
      }

  switch (flag_storage)
  {
    case 0:
      HAL_TIM_Base_Start_IT(&htim3);
      LCD_Fill(100,180,120,200,GREEN);
      break;

    case 1:
      HAL_TIM_Base_Stop_IT(&htim3);
      LCD_Fill(100,180,120,200,RED);

    default:
      break;
  }
}

//阈值设置
void Threshold_setting(void)
{
  char tem_road[20];
  char con_road[20];
  char hum_road[20];
  char light_road[20];
  sprintf((char*)tem_road,"Set Temperatuer R%d",flag_tem);
  sprintf((char*)con_road,"Set Density R%d",flag_con);
  sprintf((char*)hum_road,"Set Humdity R%d",flag_hum);
  sprintf((char*)light_road,"Set Light R%d",flag_light);
  POINT_COLOR = BLUE;
  LCD_ShowString(60,20,240,200,16,"Set Interface");
  POINT_COLOR = BLACK;
  LCD_ShowString(20,60,240,200,16,tem_road);
  LCD_ShowString(20,100,240,200,16,hum_road);
  LCD_ShowString(20,140,240,200,16,con_road);
  LCD_ShowString(20,180,240,200,16,light_road);

  switch (s4)
      {
        case 1:
          LCD_Fill(0,0,20,200,WHITE);
          Draw_Circle(5,70,5);

         break;

        case 2:
          LCD_Fill(0,0,20,200,WHITE);
          Draw_Circle(5,110,5);
         break;

        case 3:
          LCD_Fill(0,0,20,200,WHITE);
          Draw_Circle(5,150,5);
         break;

        case 4:
          LCD_Fill(0,0,20,200,WHITE);
          Draw_Circle(5,190,5);
          break;

        default:
         break;
      }
}

//温度阈值设置
void Threshold_Temperature(void)
{
  char Threshold_temup[20];
  char Threshold_temlow[20];
  sprintf((char*)Threshold_temup,"%.1f degree",flag_temup);
  sprintf((char*)Threshold_temlow,"%.1f degree",flag_temlow);
  POINT_COLOR = BLUE;
  LCD_ShowString(30,20,240,200,16,"Temperatuer threshold");
  POINT_COLOR = BLACK;
  LCD_ShowString(20,50,240,200,16,"Turn up the upper limit");
  LCD_ShowString(20,80,240,200,16,"Turn down the upper limit");
  LCD_ShowString(20,150,240,200,16,"Turn up the lower limit");
  LCD_ShowString(20,180,240,200,16,"Turn down the lower limit");
  POINT_COLOR = GREEN;
  LCD_ShowString(100,110,240,200,16,Threshold_temup);
  LCD_ShowString(100,210,240,200,16,Threshold_temlow);
  POINT_COLOR = BLACK;

  switch (s4)
      {
        case 1:
          LCD_Fill(0,0,18,200,WHITE);
          Draw_Circle(5,60,5);
         break;

        case 2:
          LCD_Fill(0,0,18,200,WHITE);
          Draw_Circle(5,90,5);
         break;

        case 3:
          LCD_Fill(0,0,18,200,WHITE);
          Draw_Circle(5,160,5);
         break;

        case 4:
          LCD_Fill(0,0,18,200,WHITE);
          Draw_Circle(5,190,5);
         break;

        default:
         break;
      }
}

//湿度阈值设置
void Threshold_Humidity(void)
{
  char Threshold_humup[20];
  char Threshold_humlow[20];
  sprintf((char*)Threshold_humup,"%d%%",flag_humup);
  sprintf((char*)Threshold_humlow,"%d%%",flag_humlow);
  POINT_COLOR = BLUE;
  LCD_ShowString(50,20,240,200,16,"Humidity threshold");
  POINT_COLOR = BLACK;
  LCD_ShowString(20,50,240,200,16,"Turn up the upper limit");
  LCD_ShowString(20,80,240,200,16,"Turn down the upper limit");
  LCD_ShowString(20,150,240,200,16,"Turn up the lower limit");
  LCD_ShowString(20,180,240,200,16,"Turn down the lower limit");
  POINT_COLOR = GREEN;
  LCD_ShowString(100,110,240,200,16,Threshold_humup);
  LCD_ShowString(100,210,240,200,16,Threshold_humlow);
  POINT_COLOR = BLACK;

  switch (s4)
      {
        case 1:
          LCD_Fill(0,0,18,200,WHITE);
          Draw_Circle(5,60,5);
         break;

        case 2:
          LCD_Fill(0,0,18,200,WHITE);
          Draw_Circle(5,90,5);
         break;

        case 3:
          LCD_Fill(0,0,18,200,WHITE);
          Draw_Circle(5,160,5);
         break;

        case 4:
          LCD_Fill(0,0,18,200,WHITE);
          Draw_Circle(5,190,5);
         break;

        default:
         break;
      }
}

void Threshold_Concentration(void)
{
  char Threshold_conup[20];
  char Threshold_conlow[20];
  sprintf((char*)Threshold_conup,"%d ppm",flag_conup);
  sprintf((char*)Threshold_conlow,"%d ppm",flag_conlow);
  POINT_COLOR = BLUE;
  LCD_ShowString(30,20,240,200,16,"Concentration threshold");
  POINT_COLOR = BLACK;
  LCD_ShowString(20,50,240,200,16,"Turn up the upper limit");
  LCD_ShowString(20,80,240,200,16,"Turn down the upper limit");
  LCD_ShowString(20,150,240,200,16,"Turn up the lower limit");
  LCD_ShowString(20,180,240,200,16,"Turn down the lower limit");
  POINT_COLOR = GREEN;
  LCD_ShowString(100,110,240,200,16,Threshold_conup);
  LCD_ShowString(100,210,240,200,16,Threshold_conlow);
  POINT_COLOR = BLACK;

  switch (s4)
      {
        case 1:
          LCD_Fill(0,0,18,200,WHITE);
          Draw_Circle(5,60,5);
         break;

        case 2:
          LCD_Fill(0,0,18,200,WHITE);
          Draw_Circle(5,90,5);
         break;

        case 3:
          LCD_Fill(0,0,18,200,WHITE);
          Draw_Circle(5,160,5);
         break;

        case 4:
          LCD_Fill(0,0,18,200,WHITE);
          Draw_Circle(5,190,5);
         break;

        default:
         break;
      }
}

void Threshold_Lgiht(void)
{
  char Threshold_lxup[20];
  char Threshold_lxlow[20];
  sprintf((char*)Threshold_lxup,"%d lx",flag_lightup);
  sprintf((char*)Threshold_lxlow,"%d lx",flag_lightlow);
  POINT_COLOR = BLUE;
  LCD_ShowString(60,20,240,200,16,"Light threshold");
  POINT_COLOR = BLACK;
  LCD_ShowString(20,50,240,200,16,"Turn up the upper limit");
  LCD_ShowString(20,80,240,200,16,"Turn down the upper limit");
  LCD_ShowString(20,150,240,200,16,"Turn up the lower limit");
  LCD_ShowString(20,180,240,200,16,"Turn down the lower limit");
  POINT_COLOR = GREEN;
  LCD_ShowString(100,110,240,200,16,Threshold_lxup);
  LCD_ShowString(100,210,240,200,16,Threshold_lxlow);
  POINT_COLOR = BLACK;

  switch (s4)
      {
        case 1:
          LCD_Fill(0,0,18,200,WHITE);
          Draw_Circle(5,60,5);
         break;

        case 2:
          LCD_Fill(0,0,18,200,WHITE);
          Draw_Circle(5,90,5);
         break;

        case 3:
          LCD_Fill(0,0,18,200,WHITE);
          Draw_Circle(5,160,5);
         break;

        case 4:
          LCD_Fill(0,0,18,200,WHITE);
          Draw_Circle(5,190,5);
         break;

        default:
         break;
      }
}

void Device_init(void)
{
    HAL_ADC_Start(&hadc1);     //启动ADC转换
    // HAL_ADC_PollForConversion(&hadc1, 50);   //等待转换完成，50为最大等待时间，单位为ms
    // DHT11_Read_Data(&temperature,&humidity);

    // if(HAL_IS_BIT_SET(HAL_ADC_GetState(&hadc1), HAL_ADC_STATE_REG_EOC))
    // {
      AD_Value = HAL_ADC_GetValue(&hadc1);   //获取AD值
    // }
    if((AD_Value > 3000)&(AD_Value < 3400))
      Vol_Value = Vol_Value;
      else
      Vol_Value = AD_Value*3.3f/4096;
    ppm = pow((3.4880*10*Vol_Value)/(5 -Vol_Value),(1.0/0.3203));
    ppm_Integer = (int)ppm;
    ppm_Decimal = (int)(10*ppm)%10;
    lx = Read_BH1750_Data();
    lx_Integer = (int)lx;
    lx_Decimal = (int)(10*lx)%10;
}

void Alarm_Display(void)
{
  switch (s5)
  {
  case 1:
    LCD_Clear(YELLOW);
    sprintf((char*)tem_show,"Road %d = %d.%d degree",flag_tem,temperature>>8,temperature&0xff);
    LCD_ShowString(40,140,200,240,16,"TEMPERATURE ALARM!!!");
    LCD_ShowString(50,170,200,240,16,tem_show);
    // HAL_GPIO_WritePin(Beep_GPIO_Port,Beep_Pin,1);
    if((((temperature>>8)+test_tem*0.1) < flag_temup)&(((temperature>>8)+test_tem*0.1) > flag_temlow))
    {
      LCD_Clear(WHITE);
      s2 = 0;
      s5 = 0;
    }
    break;

  case 2:
    LCD_Clear(YELLOW);
    sprintf((char*)hum_show,"Road %d = %d.%d%%",flag_hum,humidity>>8,humidity&0xff);
    LCD_ShowString(40,140,200,240,16,"HUMIDITY ALARM!!!");
    LCD_ShowString(50,170,200,240,16,hum_show);
    // HAL_GPIO_WritePin(Beep_GPIO_Port,Beep_Pin,1);
    break;

  case 3:
    LCD_Clear(YELLOW);
    sprintf((char*)ppm_show,"Road %d = %.2f ppm",flag_con,ppm);
    LCD_ShowString(40,140,200,240,16,"CONCENTRATION ALARM!!!");
    LCD_ShowString(50,170,200,240,16,ppm_show);
    // HAL_GPIO_WritePin(Beep_GPIO_Port,Beep_Pin,1);
    if((ppm_Integer < flag_conup)&(ppm_Integer > flag_conlow))
    {
      LCD_Clear(WHITE);
      s2 = 0;
      s5 = 0;
    }
    break;

  case 4:
    LCD_Clear(YELLOW);
    sprintf((char*)lux_show,"Road %d intensity = %d.%d lx",flag_light,lx,temp2);
    LCD_ShowString(40,140,200,240,16,"LIGHT ALARM!!!");
    LCD_ShowString(50,170,200,240,16,lux_show);
    // HAL_GPIO_WritePin(Beep_GPIO_Port,Beep_Pin,1);
    break;

  default:
    break;
  }
}

void Collection_Path_Page(void)
{
  POINT_COLOR = BLUE;
  LCD_ShowString(50,20,200,240,16,"Collection Path");
  POINT_COLOR = BLACK;
  LCD_ShowString(20,60,200,240,16,"Set temperature equipment");
  LCD_ShowString(20,100,200,240,16,"Set humidity equipment");
  LCD_ShowString(20,140,200,240,16,"Set density equipment");
  LCD_ShowString(20,180,200,240,16,"Set lighting equipment");

  switch (s4)
      {
        case 1:
          LCD_Fill(0,0,18,200,WHITE);
          Draw_Circle(5,70,5);

         break;

        case 2:
          LCD_Fill(0,0,18,200,WHITE);
          Draw_Circle(5,110,5);
         break;

        case 3:
          LCD_Fill(0,0,18,200,WHITE);
          Draw_Circle(5,150,5);
          break;

        case 4:
          LCD_Fill(0,0,18,200,WHITE);
          Draw_Circle(5,190,5);
          break;

        default:
         break;
      }

    if(flag_tem == 0)
  {
    POINT_COLOR = RED;
    LCD_ShowString(10,220,240,200,16,"Temperature device is not set!");
    POINT_COLOR = BLACK;
  }else if(flag_con == 0)
  {
    POINT_COLOR = RED;
    LCD_ShowString(10,220,240,200,16,"Density device is not set!");
    POINT_COLOR = BLACK;
  }else if(flag_hum == 0)
  {
    POINT_COLOR = RED;
    LCD_ShowString(10,220,240,200,16,"Humidity device is not set!");
    POINT_COLOR = BLACK;
  }else if(flag_light == 0)
  {
    POINT_COLOR = RED;
    LCD_ShowString(10,220,240,200,16,"Light device is not set!");
    POINT_COLOR = BLACK;
  }
}

void Set_Tem_Path(void)
{
  POINT_COLOR = BLUE;
  LCD_ShowString(50,20,200,240,16,"Temperature Path");
  POINT_COLOR = BLACK;
  LCD_ShowString(20,60,200,240,16,"Set to road 1");
  LCD_ShowString(20,100,200,240,16,"Set to road 2");
  LCD_ShowString(20,140,200,240,16,"Set to road 3");
  LCD_ShowString(20,180,200,240,16,"Set to road 4");
  switch (s4)
    {
      case 1:
      LCD_Fill(0,0,18,200,WHITE);
      Draw_Circle(5,70,5);
      break;

      case 2:
      LCD_Fill(0,0,18,200,WHITE);
      Draw_Circle(5,110,5);
      break;

      case 3:
      LCD_Fill(0,0,18,200,WHITE);
      Draw_Circle(5,150,5);
      break;

      case 4:
      LCD_Fill(0,0,18,200,WHITE);
      Draw_Circle(5,190,5);
      break;

      default:
      break;
    }

  if(flag_tem == 1)
    LCD_Fill(150,60,170,80,GREEN);
  else
    LCD_Fill(150,60,170,80,RED);

  if(flag_tem == 2)
    LCD_Fill(150,100,170,120,GREEN);
  else
    LCD_Fill(150,100,170,120,RED);

  if(flag_tem == 3)
    LCD_Fill(150,140,170,160,GREEN);
  else
    LCD_Fill(150,140,170,160,RED);

  if(flag_tem == 4)
    LCD_Fill(150,180,170,200,GREEN);
  else
    LCD_Fill(150,180,170,200,RED);

}

void Set_Hum_Path(void)
{
  POINT_COLOR = BLUE;
  LCD_ShowString(65,20,200,240,16,"Humidity Path");
  POINT_COLOR = BLACK;
  LCD_ShowString(20,60,200,240,16,"Set to road 1");
  LCD_ShowString(20,100,200,240,16,"Set to road 2");
  LCD_ShowString(20,140,200,240,16,"Set to road 3");
  LCD_ShowString(20,180,200,240,16,"Set to road 4");
  switch (s4)
    {
      case 1:
      LCD_Fill(0,0,18,200,WHITE);
      Draw_Circle(5,70,5);
      break;

      case 2:
      LCD_Fill(0,0,18,200,WHITE);
      Draw_Circle(5,110,5);
      break;

      case 3:
      LCD_Fill(0,0,18,200,WHITE);
      Draw_Circle(5,150,5);
      break;

      case 4:
      LCD_Fill(0,0,18,200,WHITE);
      Draw_Circle(5,190,5);
      break;

      default:
      break;
      }

  if(flag_hum == 1)
    LCD_Fill(150,60,170,80,GREEN);
  else
    LCD_Fill(150,60,170,80,RED);

  if(flag_hum == 2)
    LCD_Fill(150,100,170,120,GREEN);
  else
    LCD_Fill(150,100,170,120,RED);

  if(flag_hum == 3)
    LCD_Fill(150,140,170,160,GREEN);
  else
    LCD_Fill(150,140,170,160,RED);

  if(flag_hum == 4)
    LCD_Fill(150,180,170,200,GREEN);
  else
    LCD_Fill(150,180,170,200,RED);

}

void Set_Con_Path(void)
{
  POINT_COLOR = BLUE;
  LCD_ShowString(50,20,200,240,16,"Concentration Path");
  POINT_COLOR = BLACK;
  LCD_ShowString(20,60,200,240,16,"Set to road 1");
  LCD_ShowString(20,100,200,240,16,"Set to road 2");
  LCD_ShowString(20,140,200,240,16,"Set to road 3");
  LCD_ShowString(20,180,200,240,16,"Set to road 4");
  switch (s4)
    {
      case 1:
      LCD_Fill(0,0,18,200,WHITE);
      Draw_Circle(5,70,5);
      break;

      case 2:
      LCD_Fill(0,0,18,200,WHITE);
      Draw_Circle(5,110,5);
      break;

      case 3:
      LCD_Fill(0,0,18,200,WHITE);
      Draw_Circle(5,150,5);
      break;

      case 4:
      LCD_Fill(0,0,18,200,WHITE);
      Draw_Circle(5,190,5);
      break;

      default:
      break;
      }

  if(flag_con == 1)
    LCD_Fill(150,60,170,80,GREEN);
  else
    LCD_Fill(150,60,170,80,RED);

  if(flag_con == 2)
    LCD_Fill(150,100,170,120,GREEN);
  else
    LCD_Fill(150,100,170,120,RED);

  if(flag_con == 3)
    LCD_Fill(150,140,170,160,GREEN);
  else
    LCD_Fill(150,140,170,160,RED);

  if(flag_con == 4)
    LCD_Fill(150,180,170,200,GREEN);
  else
    LCD_Fill(150,180,170,200,RED);
}

void Set_Light_Path(void)
{
  POINT_COLOR = BLUE;
  LCD_ShowString(75,20,200,240,16,"Light Path");
  POINT_COLOR = BLACK;
  LCD_ShowString(20,60,200,240,16,"Set to road 1");
  LCD_ShowString(20,100,200,240,16,"Set to road 2");
  LCD_ShowString(20,140,200,240,16,"Set to road 3");
  LCD_ShowString(20,180,200,240,16,"Set to road 4");
  switch (s4)
    {
      case 1:
      LCD_Fill(0,0,18,200,WHITE);
      Draw_Circle(5,70,5);
      break;

      case 2:
      LCD_Fill(0,0,18,200,WHITE);
      Draw_Circle(5,110,5);
      break;

      case 3:
      LCD_Fill(0,0,18,200,WHITE);
      Draw_Circle(5,150,5);
      break;

      case 4:
      LCD_Fill(0,0,18,200,WHITE);
      Draw_Circle(5,190,5);
      break;

      default:
      break;
      }

  if(flag_light == 1)
    LCD_Fill(150,60,170,80,GREEN);
  else
    LCD_Fill(150,60,170,80,RED);

  if(flag_light == 2)
    LCD_Fill(150,100,170,120,GREEN);
  else
    LCD_Fill(150,100,170,120,RED);

  if(flag_light == 3)
    LCD_Fill(150,140,170,160,GREEN);
  else
    LCD_Fill(150,140,170,160,RED);

  if(flag_light == 4)
    LCD_Fill(150,180,170,200,GREEN);
  else
    LCD_Fill(150,180,170,200,RED);
}

void CD4051(uint8_t n)
{
  switch (n)
  {
  case 0:
    HAL_GPIO_WritePin(GPIOG,GPIO_PIN_13,0);//c
    HAL_GPIO_WritePin(GPIOG,GPIO_PIN_14,0);//b
    HAL_GPIO_WritePin(GPIOG,GPIO_PIN_15,0);//a
    break;
  case 1:
    HAL_GPIO_WritePin(GPIOG,GPIO_PIN_13,0);//c
    HAL_GPIO_WritePin(GPIOG,GPIO_PIN_14,0);//b
    HAL_GPIO_WritePin(GPIOG,GPIO_PIN_15,1);//a
    break;

  case 2:
    HAL_GPIO_WritePin(GPIOG,GPIO_PIN_13,0);//c
    HAL_GPIO_WritePin(GPIOG,GPIO_PIN_14,1);//b
    HAL_GPIO_WritePin(GPIOG,GPIO_PIN_15,0);//a
    break;
  case 3:
    HAL_GPIO_WritePin(GPIOG,GPIO_PIN_13,0);//c
    HAL_GPIO_WritePin(GPIOG,GPIO_PIN_14,1);//b
    HAL_GPIO_WritePin(GPIOG,GPIO_PIN_15,1);//a
    break;
  case 4:
    HAL_GPIO_WritePin(GPIOG,GPIO_PIN_13,1);//c
    HAL_GPIO_WritePin(GPIOG,GPIO_PIN_14,0);//b
    HAL_GPIO_WritePin(GPIOG,GPIO_PIN_15,0);//a
    break;
  case 5:
    HAL_GPIO_WritePin(GPIOG,GPIO_PIN_13,1);//c
    HAL_GPIO_WritePin(GPIOG,GPIO_PIN_14,0);//b
    HAL_GPIO_WritePin(GPIOG,GPIO_PIN_15,1);//a
    break;
  case 6:
    HAL_GPIO_WritePin(GPIOG,GPIO_PIN_13,1);//c
    HAL_GPIO_WritePin(GPIOG,GPIO_PIN_14,1);//b
    HAL_GPIO_WritePin(GPIOG,GPIO_PIN_15,0);//a
    break;
  case 7:
    HAL_GPIO_WritePin(GPIOG,GPIO_PIN_13,1);//c
    HAL_GPIO_WritePin(GPIOG,GPIO_PIN_14,1);//b
    HAL_GPIO_WritePin(GPIOG,GPIO_PIN_15,1);//a
    break;

  default:
    break;
  }
}

void Polling_CD4051(void)
{
  CD4051(0);
  flag = DHT11_Read_Data(&temperature,&humidity);
  CD4051(50);
  HAL_Delay(50);
  CD4051(2);
  HAL_Delay(50);
  CD4051(3);
  HAL_Delay(50);
  CD4051(4);
  HAL_Delay(50);
  CD4051(5);
  HAL_Delay(50);
  CD4051(6);
  HAL_Delay(50);
  CD4051(7);
  HAL_Delay(50);
}

/* USER CODE END 4 */

void Error_Handler(void)
{
}

/************************ (C) COPYRIGHT STMicroelectronics *****END OF FILE****/
